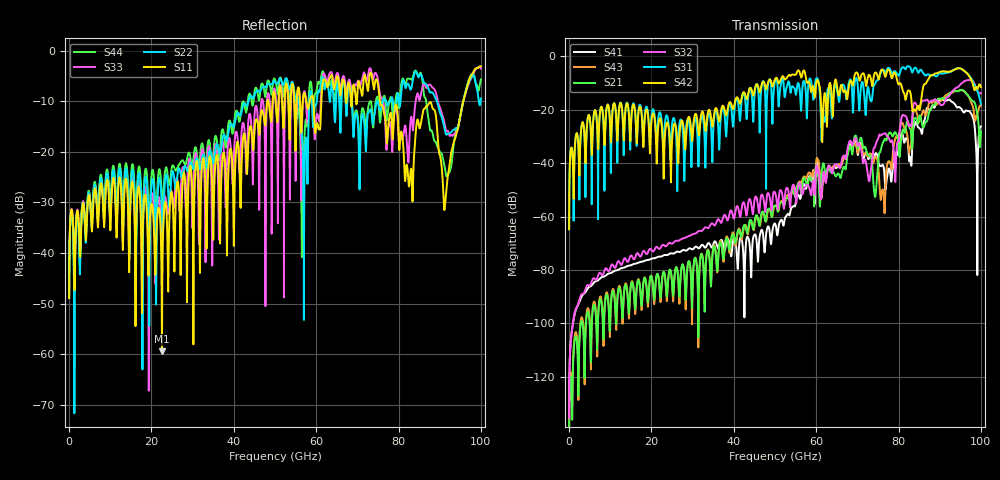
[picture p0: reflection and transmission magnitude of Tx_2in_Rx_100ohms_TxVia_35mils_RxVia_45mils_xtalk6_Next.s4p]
! Info: Touchstone file created by Circ.  Input file=Tx_2in_Rx_100ohms_TxVia_35mils_RxVia_45mils.circ
# Hz S RI R 50
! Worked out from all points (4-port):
!   10000 points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, 10 MHz to 100 GHz, reference 50 ohm
!   strongest paths, dB at 10 MHz, 25.01 GHz, 50.01 GHz, 75.01 GHz, 100 GHz:
!     S42: -64.7, -31.5, -8.6, -7.9, -11.5
!     S31: -64.7, -25.4, -9.2, -8.9, -17.7
!     S32: -135.4, -70.1, -51.0, -30.9, -13.7
!     S21: -144.8, -84.8, -55.8, -40.7, -28.0
!     S43: -143.3, -85.1, -55.9, -40.2, -18.4
!     S41: -135.4, -73.8, -62.6, -38.2, -26.2
!   lowest |S11| = -59.4 dB at 22.55 GHz (marker M1), VSWR 1.00, Z = 50.1 + j0.0507 ohm
!   |S11| at or under -10 dB: start of sweep to 48.11 GHz; 59.32 GHz to 61.26 GHz (1.942 GHz wide, 3.22 % of centre); 75.48 GHz to 95.75 GHz (20.28 GHz wide, 23.7 % of centre)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
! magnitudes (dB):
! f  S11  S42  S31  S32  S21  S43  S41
! 10 MHz  -48.9  -64.7  -64.7  -135.4  -144.8  -143.3  -135.4
! 6.28 GHz  -27.2  -20.1  -20.2  -83.4  -93.8  -92.5  -84.3
! 22.55 GHz  -59.4  -26.7  -25.4  -70.8  -83.8  -84.3  -74.8
! 63.52 GHz  -5.1  -10.7  -16.3  -42.1  -43.3  -41.7  -42.8
! 76.23 GHz  -11.3  -5.3  -4.9  -29.0  -32.2  -50.1  -40.7
! 91.29 GHz  -30.4  -5.6  -6.2  -16.7  -15.7  -14.8  -16.4
! 100 GHz  -3.1  -11.5  -17.7  -13.7  -28.0  -18.4  -26.2
